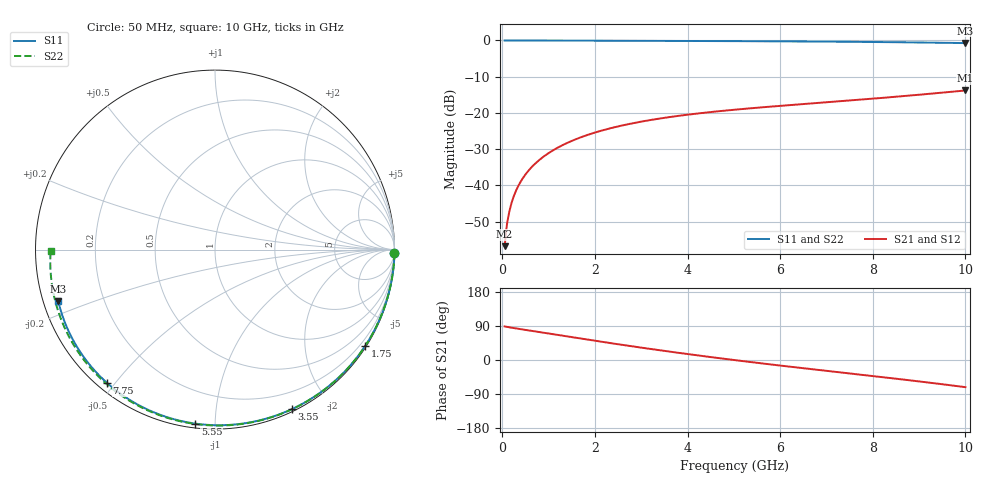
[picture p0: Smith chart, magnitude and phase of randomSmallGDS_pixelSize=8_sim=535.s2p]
! freq	dB(S11)	phase(S11)	dB(S12)	phase(S12)
!  dB(S21)	phase(S21)	dB(S22)	phase(S22)
!S-par simulation data
#  GHz  S  DB  R 50
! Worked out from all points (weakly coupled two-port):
!   200 points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, 50 MHz to 10 GHz, reference 50 ohm
!   highest |S21| = -13.80 dB at 10 GHz (marker M1); lowest = -56.8 dB at 50 MHz (marker M2)
!   lowest |S11| = -0.7 dB at 10 GHz (marker M3), VSWR 23.81, Z = 2.15 - j8 ohm
!   |S11| at or under -10 dB: nowhere
!   |S22| runs from -0.8 to 0.0 dB; largest |S21 - S12| = 0
!   S11 on the Smith chart (normalised r, x): 50 MHz: open; 1.75 GHz: 0.04, -3.41; 3.55 GHz: 0.02, -1.59; 5.55 GHz: 0.02, -0.89; 7.75 GHz: 0.03, -0.48; 10 GHz: 0.04, -0.16
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0.05  -0.00 -1.0  -56.76 88.7  -56.76 88.7  -0.00 -1.1
0.1  -0.00 -1.9  -50.77 87.4  -50.77 87.4  -0.00 -2.1
0.15  -0.00 -2.9  -47.28 86.3  -47.28 86.3  -0.00 -3.2
0.2  -0.00 -3.8  -44.82 85.2  -44.82 85.2  -0.00 -4.2
0.25  -0.00 -4.8  -42.91 84.2  -42.91 84.2  -0.00 -5.3
0.35  -0.01 -6.7  -40.03 82.3  -40.03 82.3  -0.01 -7.4
0.5  -0.01 -9.5  -36.98 79.4  -36.98 79.4  -0.01 -10.5
0.7  -0.02 -13.3  -34.11 75.6  -34.11 75.6  -0.02 -14.7
1  -0.03 -18.9  -31.08 69.8  -31.08 69.8  -0.03 -20.9
1.35  -0.04 -25.4  -28.58 63.1  -28.58 63.1  -0.04 -28.0
1.75  -0.05 -32.7  -26.47 55.5  -26.47 55.5  -0.05 -36.1
2.6  -0.08 -48.0  -23.43 39.8  -23.43 39.8  -0.09 -52.8
3.4  -0.11 -61.8  -21.54 25.7  -21.54 25.7  -0.12 -68.0
3.55  -0.12 -64.3  -21.25 23.2  -21.25 23.2  -0.12 -70.8
4.3  -0.15 -76.8  -20.03 10.9  -20.03 10.9  -0.16 -84.3
5.05  -0.19 -88.7  -19.07 -0.8  -19.07 -0.8  -0.20 -97.4
5.55  -0.21 -96.5  -18.51 -8.2  -18.51 -8.2  -0.23 -105.8
6.7  -0.29 -113.7  -17.36 -24.5  -17.36 -24.5  -0.31 -124.7
7.75  -0.39 -129.0  -16.32 -38.9  -16.32 -38.9  -0.42 -141.7
8.35  -0.46 -137.6  -15.69 -47.2  -15.69 -47.2  -0.49 -151.4
9.2  -0.58 -150.0  -14.75 -59.4  -14.75 -59.4  -0.62 -165.6
10  -0.73 -161.8  -13.80 -71.7  -13.80 -71.7  -0.76 -179.5
